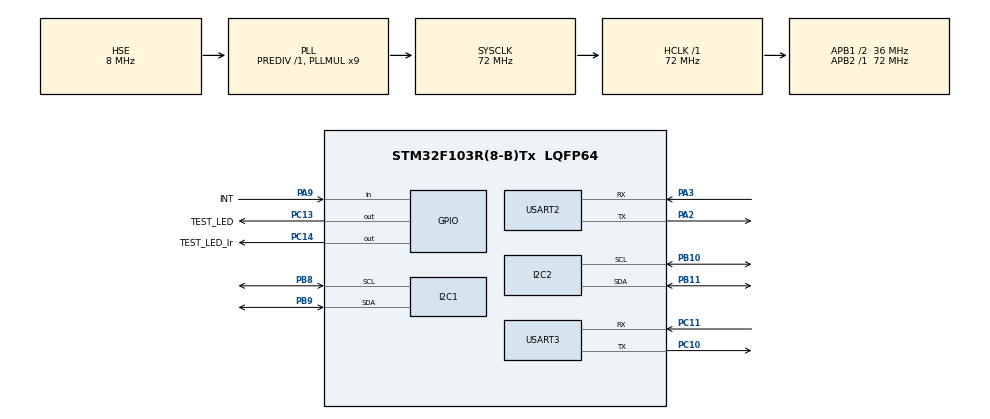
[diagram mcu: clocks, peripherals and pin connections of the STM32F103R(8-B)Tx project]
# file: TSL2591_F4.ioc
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Mcu.Family=STM32F1
Mcu.Name=STM32F103R(8-B)Tx
Mcu.Package=LQFP64
NVIC.PriorityGroup=NVIC_PRIORITYGROUP_4
PA13.Mode=Serial_Wire
PA13.Signal=SYS_JTMS-SWDIO
PA14.Mode=Serial_Wire
PA14.Signal=SYS_JTCK-SWCLK
PA2.Mode=Asynchronous
PA2.Signal=USART2_TX
PA3.Mode=Asynchronous
PA3.Signal=USART2_RX
PA9.GPIO_Label=INT
PA9.Signal=GPIO_Input
PB10.Mode=I2C
PB10.Signal=I2C2_SCL
PB11.Mode=I2C
PB11.Signal=I2C2_SDA
PB8.GPIO_Pu=GPIO_PULLUP
PB8.Mode=I2C
PB8.Signal=I2C1_SCL
PB9.GPIO_Pu=GPIO_PULLUP
PB9.Mode=I2C
PB9.Signal=I2C1_SDA
PC10.Mode=Asynchronous
PC10.Signal=USART3_TX
PC11.Mode=Asynchronous
PC11.Signal=USART3_RX
PC13-TAMPER-RTC.GPIO_Label=TEST_LED
PC13-TAMPER-RTC.Signal=GPIO_Output
PC14-OSC32_IN.GPIO_Label=TEST_LED_Ir
PC14-OSC32_IN.Signal=GPIO_Output
PD0-OSC_IN.Mode=HSE-External-Oscillator
PD0-OSC_IN.Signal=RCC_OSC_IN
PD1-OSC_OUT.Mode=HSE-External-Oscillator
PD1-OSC_OUT.Signal=RCC_OSC_OUT
ProjectManager.HeapSize=0x200
ProjectManager.StackSize=0x400
ProjectManager.TargetToolchain=STM32CubeIDE
RCC.AHBFreq_Value=72000000
RCC.APB1CLKDivider=RCC_HCLK_DIV2
RCC.APB1Freq_Value=36000000
RCC.APB1TimFreq_Value=72000000
RCC.APB2Freq_Value=72000000
RCC.APB2TimFreq_Value=72000000
RCC.HCLKFreq_Value=72000000
RCC.PLLMUL=RCC_PLL_MUL9
RCC.PLLSourceVirtual=RCC_PLLSOURCE_HSE
RCC.SYSCLKFreq_VALUE=72000000
RCC.SYSCLKSource=RCC_SYSCLKSOURCE_PLLCLK
RCC.USBFreq_Value=72000000
USART2.VirtualMode=VM_ASYNC
USART3.VirtualMode=VM_ASYNC
board=custom

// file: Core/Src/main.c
/* USER CODE BEGIN Header */
/**
  ******************************************************************************
  * @file           : main.c
  * @brief          : Main program body
  ******************************************************************************
  * @attention
  *
  * Copyright (c) 2024 STMicroelectronics.
  * All rights reserved.
  *
  * This software is licensed under terms that can be found in the LICENSE file
  * in the root directory of this software component.
  * If no LICENSE file comes with this software, it is provided AS-IS.
  *
  ******************************************************************************
  */
/* USER CODE END Header */
#include "main.h"
#include "i2c.h"
#include "usart.h"
#include "gpio.h"

/* USER CODE BEGIN Includes */
#include "TSL2591.h"
/* USER CODE END Includes */

/* USER CODE BEGIN PTD */
typedef struct {
// Sensor type struct
	void *sensorStruct;
//	Sensor Data
    float value1;
    int value2;
    float lux;
	uint16_t atime;
	uint16_t again;
} sensorData;

/* USER CODE END PTD */

/* USER CODE BEGIN PD */
extern uint8_t DEV_ModuleInit(I2C_HandleTypeDef *i2c_handle, uint8_t address);

/* USER CODE END PD */

/* USER CODE BEGIN PV */
uint32_t sec_mark_led;
//float lux;
//int ir;
sensorData LuxSensor1;
sensorData LuxSensor2;
TSL2591_t TSL_LuxSensor1;
TSL2591_t sensor;
TSL2591_t TSL_LuxSensor2;
float lux;

/* USER CODE END PV */

void SystemClock_Config(void);

int main(void)
{

  /* MCU Configuration--------------------------------------------------------*/

  /* Reset of all peripherals, Initializes the Flash interface and the Systick. */
  HAL_Init();

  /* Configure the system clock */
  SystemClock_Config();

  /* Initialize all configured peripherals */
  MX_GPIO_Init();
  MX_I2C1_Init();
  MX_I2C2_Init();
  MX_USART2_UART_Init();
  MX_USART3_UART_Init();
  MX_I2C2_Init();
  /* USER CODE BEGIN 2 */
  /*  -------------TSL2591 Sensor Init--------------------------------------------*/

  DEV_I2C_Init(&hi2c1, TSL2591_ADDRESS);
//  TSL2591_Init(&TSL_LuxSensor1, &hi2c1, TSL2591_ADDRESS);
  TSL2591_Init(&TSL_LuxSensor1, &hi2c1, TSL2591_ADDRESS);

  DEV_I2C_Init(&hi2c2, TSL2591_ADDRESS);
  TSL2591_Init(&TSL_LuxSensor2, &hi2c2, TSL2591_ADDRESS);
   /*  --------------Gain Adjust TSL2591-------------------------------------------*/

  TSL2591_Set_Gain(&TSL_LuxSensor1, LOW_AGAIN);
  TSL2591_Set_Gain(&TSL_LuxSensor2, LOW_AGAIN);
  /*  ---------------Atime Adjust TSL2591------------------------------------------*/

  TSL2591_Set_IntegralTime(&TSL_LuxSensor1, ATIME_500MS);
  TSL2591_Set_IntegralTime(&TSL_LuxSensor2, ATIME_500MS);

  /*  ---------------Interrupts TSL2591------------------------------------------*/

//  TSL2591_SET_InterruptThreshold(&TSL_LuxSensor1, 0x000f, 0xff00);
//  TSL2591_SET_InterruptThreshold(&TSL_LuxSensor2, 0x000f, 0xff00);
  TSL2591_SET_LuxInterrupt(&TSL_LuxSensor1, 150, 250);
  TSL2591_SET_LuxInterrupt(&TSL_LuxSensor2, 150, 250);

  /* USER CODE END 2 */

  /* Infinite loop */
  /* USER CODE BEGIN WHILE */

    HAL_GPIO_WritePin(TEST_LED_GPIO_Port, TEST_LED_Pin, GPIO_PIN_SET);
    HAL_GPIO_WritePin(TEST_LED_Ir_GPIO_Port, TEST_LED_Ir_Pin, GPIO_PIN_SET);

  while (1)
  {
    /* USER CODE END WHILE */

    /* USER CODE BEGIN 3 */
	  /*  ---------------TSL2591 Data read------------------------------------------*/

	  LuxSensor1.value1 = TSL2591_Read_Lux(&TSL_LuxSensor1); // Lux data for Tsl Sensor 1
	  LuxSensor1.value2 = TSL2591_Read_Channel1(&TSL_LuxSensor1);
//	  LuxSensor1.value1 = TSL_LuxSensor1.data_read1;    // Lux data read for Tsl Sensor 1
//	  LuxSensor1.value2 = TSL_LuxSensor1.data_read2;   // Ir Channel data read for Tsl Sensor 1

	  LuxSensor1.value1 = TSL2591_Read_Lux(&TSL_LuxSensor2);
	  LuxSensor1.value2 = TSL2591_Read_Channel1(&TSL_LuxSensor2); // Lux data for Tsl Sensor 1
//	  LuxSensor1.value1 = TSL_LuxSensor2.data_read1;    // Lux data read for Tsl Sensor 1
//	  LuxSensor1.value2 = TSL_LuxSensor2.data_read2;   // Ir Channel data read for Tsl Sensor 1

      //	  LuxSensor1.value2 = TSL2591_Read_Channel1(sensor);
//	  TslSens.atime = TSL2591_Set_IntegralTime(ATIME_500MS);

		TSL2591_SET_LuxInterrupt(&TSL_LuxSensor1, 50,200);
		TSL2591_SET_LuxInterrupt(&TSL_LuxSensor2, 50,200);

		if(HAL_GetTick() - sec_mark_led >= 900){
			HAL_GPIO_TogglePin(TEST_LED_GPIO_Port, TEST_LED_Pin);
			sec_mark_led = HAL_GetTick();
		}

  }
  /* USER CODE END 3 */
}

void SystemClock_Config(void)
{
  RCC_OscInitTypeDef RCC_OscInitStruct = {0};
  RCC_ClkInitTypeDef RCC_ClkInitStruct = {0};

  /** Initializes the RCC Oscillators according to the specified parameters
  * in the RCC_OscInitTypeDef structure.
  */
  RCC_OscInitStruct.OscillatorType = RCC_OSCILLATORTYPE_HSE;
  RCC_OscInitStruct.HSEState = RCC_HSE_ON;
  RCC_OscInitStruct.HSEPredivValue = RCC_HSE_PREDIV_DIV1;
  RCC_OscInitStruct.HSIState = RCC_HSI_ON;
  RCC_OscInitStruct.PLL.PLLState = RCC_PLL_ON;
  RCC_OscInitStruct.PLL.PLLSource = RCC_PLLSOURCE_HSE;
  RCC_OscInitStruct.PLL.PLLMUL = RCC_PLL_MUL9;
  if (HAL_RCC_OscConfig(&RCC_OscInitStruct) != HAL_OK)
  {
    Error_Handler();
  }

  /** Initializes the CPU, AHB and APB buses clocks
  */
  RCC_ClkInitStruct.ClockType = RCC_CLOCKTYPE_HCLK|RCC_CLOCKTYPE_SYSCLK
                              |RCC_CLOCKTYPE_PCLK1|RCC_CLOCKTYPE_PCLK2;
  RCC_ClkInitStruct.SYSCLKSource = RCC_SYSCLKSOURCE_PLLCLK;
  RCC_ClkInitStruct.AHBCLKDivider = RCC_SYSCLK_DIV1;
  RCC_ClkInitStruct.APB1CLKDivider = RCC_HCLK_DIV2;
  RCC_ClkInitStruct.APB2CLKDivider = RCC_HCLK_DIV1;

  if (HAL_RCC_ClockConfig(&RCC_ClkInitStruct, FLASH_LATENCY_2) != HAL_OK)
  {
    Error_Handler();
  }
}

void Error_Handler(void)
{
  __disable_irq();
  while (1)
  {
  }
}
